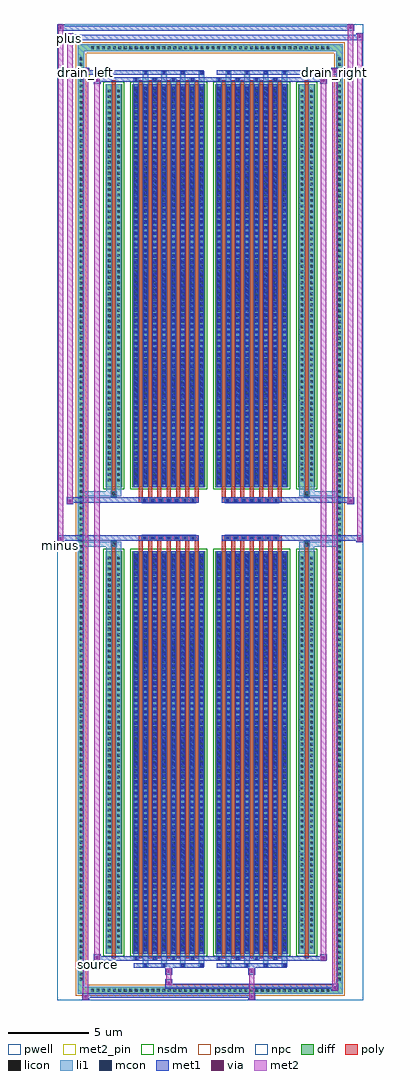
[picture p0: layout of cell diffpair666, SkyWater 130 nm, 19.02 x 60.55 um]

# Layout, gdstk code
import gdstk
lib = gdstk.Library(unit=1e-6, precision=5e-09)
def R(c, l, rs):  # rectangles x0, y0, x1, y1
    for r in rs: c.add(gdstk.rectangle(r[:2], r[2:], *l))
def A(c, l, x, y, w, h, nx, ny, dx, dy):  # array of equal rectangles
    R(c, l, [(x+i*dx, y+j*dy, x+i*dx+w, y+j*dy+h) for i in range(nx) for j in range(ny)])
def P(c, l, *ps):  # polygons
    for p in ps: c.add(gdstk.Polygon(p, *l))
pwell = (64, 44)
diff = (65, 20)
poly = (66, 20)
licon = (66, 44)
li1 = (67, 20)
mcon = (67, 44)
met1 = (68, 20)
via = (68, 44)
met2_pin = (69, 16)
met2 = (69, 20)
nsdm = (93, 44)
psdm = (94, 20)
npc = (95, 20)

diffpair666 = lib.new_cell('diffpair666')
R(diffpair666, pwell, [(-9.49,-29.84,9.49,30.71), (-6.81,-28.03,-0.01,-0.805), (0.01,-28.03,6.81,-0.805), (-6.81,0.805,-0.01,28.03), (0.01,0.805,6.81,28.03)])
A(diffpair666, diff, -7.515, -29.44, 0.41, 0.41, 44, 2, 0.34, 58.47)
A(diffpair666, diff, -8.22, -28.765, 0.41, 0.41, 1, 169, 0, 0.34)
A(diffpair666, diff, 7.81, -28.765, 0.41, 0.41, 1, 169, 0, 0.34)
R(diffpair666, diff, [(-7.515,-29.44,7.515,-29.03), (-8.22,-28.765,-7.81,28.765), (7.81,-28.765,8.22,28.765), (-6.5,-26.985,-5.47,-1.985), (-4.83,-26.985,-0.32,-1.985), (0.32,-26.985,4.83,-1.985), (5.47,-26.985,6.5,-1.985), (-6.5,1.985,-5.47,26.985), (-4.83,1.985,-0.32,26.985), (0.32,1.985,4.83,26.985), (5.47,1.985,6.5,26.985), (-7.515,29.03,7.515,29.44)])
P(diffpair666, diff, [(8.22,29.44),(-8.22,29.44),(-8.22,-29.03),(-7.81,-29.03),(-7.81,29.03),(7.81,29.03),(7.81,-29.03),(-7.81,-29.03),(-8.22,-29.03),(-8.22,-29.44),(8.22,-29.44)])
A(diffpair666, poly, -4.44, -27.235, 0.25, 25.5, 7, 2, 0.58, 28.97)
A(diffpair666, poly, 0.71, -27.235, 0.25, 25.5, 7, 2, 0.58, 28.97)
A(diffpair666, poly, -4.44, -1.735, 0.25, 0.4, 7, 2, 0.58, 3.07)
A(diffpair666, poly, 0.71, -1.735, 0.25, 0.4, 7, 2, 0.58, 3.07)
A(diffpair666, poly, -4.24, -1.335, 0.33, 0.33, 7, 2, 0.5, 2.34)
A(diffpair666, poly, 0.91, -1.335, 0.33, 0.33, 7, 2, 0.5, 2.34)
R(diffpair666, poly, [(-6.11,-27.235,-5.86,-1.735), (5.86,-27.235,6.11,-1.735), (-6.15,-1.735,-5.82,-1.405), (-6.15,-1.735,-5.82,-1.405), (5.82,-1.735,6.15,-1.405), (5.82,-1.735,6.15,-1.405), (-4.44,-1.335,-0.71,-1.005), (0.71,-1.335,4.44,-1.005), (-4.44,1.005,-0.71,1.335), (0.71,1.005,4.44,1.335), (-6.15,1.405,-5.82,1.735), (-6.15,1.405,-5.82,1.735), (5.82,1.405,6.15,1.735), (5.82,1.405,6.15,1.735), (-6.11,1.735,-5.86,27.235), (5.86,1.735,6.11,27.235)])
A(diffpair666, licon, -7.395, -29.32, 0.17, 0.17, 44, 2, 0.34, 58.47)
A(diffpair666, licon, -8.1, -28.645, 0.17, 0.17, 1, 169, 0, 0.34)
A(diffpair666, licon, 7.93, -28.645, 0.17, 0.17, 1, 169, 0, 0.34)
A(diffpair666, licon, -6.36, -26.64, 0.17, 0.17, 1, 72, 0, 0.34)
A(diffpair666, licon, -5.78, -26.64, 0.17, 0.17, 1, 72, 0, 0.34)
A(diffpair666, licon, -4.69, -26.64, 0.17, 0.17, 8, 72, 0.58, 0.34)
A(diffpair666, licon, 0.46, -26.64, 0.17, 0.17, 8, 72, 0.58, 0.34)
A(diffpair666, licon, 5.61, -26.64, 0.17, 0.17, 1, 72, 0, 0.34)
A(diffpair666, licon, 6.19, -26.64, 0.17, 0.17, 1, 72, 0, 0.34)
A(diffpair666, licon, -4.16, -1.255, 0.17, 0.17, 7, 2, 0.5, 2.34)
A(diffpair666, licon, 0.99, -1.255, 0.17, 0.17, 7, 2, 0.5, 2.34)
A(diffpair666, licon, -6.36, 2.33, 0.17, 0.17, 1, 72, 0, 0.34)
A(diffpair666, licon, -5.78, 2.33, 0.17, 0.17, 1, 72, 0, 0.34)
A(diffpair666, licon, -4.69, 2.33, 0.17, 0.17, 8, 72, 0.58, 0.34)
A(diffpair666, licon, 0.46, 2.33, 0.17, 0.17, 8, 72, 0.58, 0.34)
A(diffpair666, licon, 5.61, 2.33, 0.17, 0.17, 1, 72, 0, 0.34)
A(diffpair666, licon, 6.19, 2.33, 0.17, 0.17, 1, 72, 0, 0.34)
R(diffpair666, licon, [(-6.07,-1.655,-5.9,-1.485), (5.9,-1.655,6.07,-1.485), (-6.07,1.485,-5.9,1.655), (5.9,1.485,6.07,1.655)])
A(diffpair666, li1, -7.475, -29.4, 0.33, 0.33, 44, 2, 0.34, 58.47)
A(diffpair666, li1, -8.18, -28.725, 0.33, 0.33, 1, 169, 0, 0.34)
A(diffpair666, li1, 7.85, -28.725, 0.33, 0.33, 1, 169, 0, 0.34)
A(diffpair666, li1, -4.19, -27.79, 0.33, 0.805, 4, 2, 1.16, 54.775)
A(diffpair666, li1, -4.11, -27.79, 0.17, 0.17, 4, 2, 1.16, 55.41)
A(diffpair666, li1, 0.96, -27.79, 0.33, 0.805, 4, 2, 1.16, 54.775)
A(diffpair666, li1, 1.04, -27.79, 0.17, 0.17, 4, 2, 1.16, 55.41)
A(diffpair666, li1, -4.77, -27.36, 0.33, 0.375, 4, 2, 1.16, 54.345)
A(diffpair666, li1, -4.69, -27.36, 0.17, 0.17, 4, 2, 1.16, 54.55)
A(diffpair666, li1, 0.38, -27.36, 0.33, 0.375, 4, 2, 1.16, 54.345)
A(diffpair666, li1, 0.46, -27.36, 0.17, 0.17, 4, 2, 1.16, 54.55)
A(diffpair666, li1, -4.77, -26.985, 0.33, 25, 8, 2, 0.58, 28.97)
A(diffpair666, li1, 0.38, -26.985, 0.33, 25, 8, 2, 0.58, 28.97)
A(diffpair666, li1, -4.69, -26.81, 0.17, 0.17, 8, 69, 0.58, 0.36)
A(diffpair666, li1, -4.69, -26.81, 0.17, 24.65, 8, 2, 0.58, 28.97)
A(diffpair666, li1, 0.46, -26.81, 0.17, 0.17, 8, 69, 0.58, 0.36)
A(diffpair666, li1, 0.46, -26.81, 0.17, 24.65, 8, 2, 0.58, 28.97)
A(diffpair666, li1, -6.44, -26.72, 0.33, 0.33, 1, 72, 0, 0.34)
A(diffpair666, li1, -5.86, -26.72, 0.33, 0.33, 1, 72, 0, 0.34)
A(diffpair666, li1, -4.77, -26.72, 0.33, 0.33, 8, 72, 0.58, 0.34)
A(diffpair666, li1, 0.38, -26.72, 0.33, 0.33, 8, 72, 0.58, 0.34)
A(diffpair666, li1, 5.53, -26.72, 0.33, 0.33, 1, 72, 0, 0.34)
A(diffpair666, li1, 6.11, -26.72, 0.33, 0.33, 1, 72, 0, 0.34)
A(diffpair666, li1, -4.24, -1.335, 0.33, 0.33, 7, 2, 0.5, 2.34)
A(diffpair666, li1, 0.91, -1.335, 0.33, 0.33, 7, 2, 0.5, 2.34)
A(diffpair666, li1, -4.69, 2.16, 0.17, 0.17, 8, 69, 0.58, 0.36)
A(diffpair666, li1, 0.46, 2.16, 0.17, 0.17, 8, 69, 0.58, 0.36)
A(diffpair666, li1, -6.44, 2.25, 0.33, 0.33, 1, 72, 0, 0.34)
A(diffpair666, li1, -5.86, 2.25, 0.33, 0.33, 1, 72, 0, 0.34)
A(diffpair666, li1, -4.77, 2.25, 0.33, 0.33, 8, 72, 0.58, 0.34)
A(diffpair666, li1, 0.38, 2.25, 0.33, 0.33, 8, 72, 0.58, 0.34)
A(diffpair666, li1, 5.53, 2.25, 0.33, 0.33, 1, 72, 0, 0.34)
A(diffpair666, li1, 6.11, 2.25, 0.33, 0.33, 1, 72, 0, 0.34)
R(diffpair666, li1, [(-8.22,-29.44,-7.81,-29.03), (-8.22,-29.44,-7.81,-29.03), (-7.81,-29.44,7.81,-29.03), (7.81,-29.44,8.22,-29.03), (7.81,-29.44,8.22,-29.03), (-8.22,-29.03,-7.81,29.03), (7.81,-29.03,8.22,29.03), (-6.44,-26.985,-6.11,-1.985), (-5.86,-26.985,-5.53,-1.985), (5.53,-26.985,5.86,-1.985), (6.11,-26.985,6.44,-1.985), (-6.44,-1.985,-6.11,-1.405), (-5.86,-1.985,-5.53,-1.405), (5.53,-1.985,5.86,-1.405), (6.11,-1.985,6.44,-1.405), (-8.22,-1.735,-6.15,-1.405), (-6.44,-1.735,-6.15,-1.405), (-6.15,-1.735,-5.82,-1.405), (-5.82,-1.735,-5.53,-1.405), (5.53,-1.735,5.82,-1.405), (5.82,-1.735,6.15,-1.405), (5.82,-1.735,8.22,-1.405), (6.15,-1.735,6.44,-1.405), (-8.22,1.405,-6.15,1.735), (-6.44,1.405,-6.15,1.735), (-6.44,1.405,-6.11,1.985), (-6.15,1.405,-5.82,1.735), (-5.86,1.405,-5.53,1.985), (-5.82,1.405,-5.53,1.735), (5.53,1.405,5.82,1.735), (5.53,1.405,5.86,1.985), (5.82,1.405,6.15,1.735), (5.82,1.405,8.22,1.735), (6.11,1.405,6.44,1.985), (6.15,1.405,6.44,1.735), (-6.44,1.985,-6.11,26.985), (-5.86,1.985,-5.53,26.985), (5.53,1.985,5.86,26.985), (6.11,1.985,6.44,26.985), (-8.22,29.03,-7.81,29.44), (-8.22,29.03,-7.81,29.44), (-7.81,29.03,7.81,29.44), (7.81,29.03,8.22,29.44), (7.81,29.03,8.22,29.44)])
A(diffpair666, mcon, -4.11, -27.79, 0.17, 0.17, 4, 2, 1.16, 55.41)
A(diffpair666, mcon, 1.04, -27.79, 0.17, 0.17, 4, 2, 1.16, 55.41)
A(diffpair666, mcon, -4.69, -27.36, 0.17, 0.17, 4, 2, 1.16, 54.55)
A(diffpair666, mcon, 0.46, -27.36, 0.17, 0.17, 4, 2, 1.16, 54.55)
A(diffpair666, mcon, -4.69, -26.81, 0.17, 0.17, 8, 69, 0.58, 0.36)
A(diffpair666, mcon, 0.46, -26.81, 0.17, 0.17, 8, 69, 0.58, 0.36)
A(diffpair666, mcon, -4.16, -1.255, 0.17, 0.17, 7, 2, 0.5, 2.34)
A(diffpair666, mcon, 0.99, -1.255, 0.17, 0.17, 7, 2, 0.5, 2.34)
A(diffpair666, mcon, -4.69, 2.16, 0.17, 0.17, 8, 69, 0.58, 0.36)
A(diffpair666, mcon, 0.46, 2.16, 0.17, 0.17, 8, 69, 0.58, 0.36)
A(diffpair666, met1, -4.17, -27.85, 0.29, 0.29, 4, 2, 1.16, 55.41)
A(diffpair666, met1, 0.98, -27.85, 0.29, 0.29, 4, 2, 1.16, 55.41)
A(diffpair666, met1, -4.75, -27.42, 0.29, 0.29, 4, 2, 1.16, 54.55)
A(diffpair666, met1, 0.4, -27.42, 0.29, 0.29, 4, 2, 1.16, 54.55)
A(diffpair666, met1, -4.75, -26.985, 0.29, 25, 8, 2, 0.58, 28.97)
A(diffpair666, met1, 0.4, -26.985, 0.29, 25, 8, 2, 0.58, 28.97)
A(diffpair666, met1, -4.75, -26.87, 0.29, 0.29, 8, 69, 0.58, 0.36)
A(diffpair666, met1, 0.4, -26.87, 0.29, 0.29, 8, 69, 0.58, 0.36)
A(diffpair666, met1, -4.22, -1.315, 0.29, 0.29, 7, 2, 0.5, 2.34)
A(diffpair666, met1, 0.93, -1.315, 0.29, 0.29, 7, 2, 0.5, 2.34)
A(diffpair666, met1, -4.75, 2.1, 0.29, 0.29, 8, 69, 0.58, 0.36)
A(diffpair666, met1, 0.4, 2.1, 0.29, 0.29, 8, 69, 0.58, 0.36)
R(diffpair666, met1, [(-7.95,-29.84,-7.52,-29.41), (2.36,-29.84,2.79,-29.41), (-7.95,-29.7,2.79,-29.41), (7.52,-29.27,7.95,-28.84), (-2.79,-29.13,7.95,-28.84), (-2.79,-28.99,-2.36,-28.56), (-2.79,-28.28,-2.36,-27.85), (2.36,-28.28,2.79,-27.85), (-4.75,-27.85,-0.4,-27.56), (0.4,-27.85,4.75,-27.56), (-7.24,-27.42,-6.81,-26.99), (-7.24,-27.42,-4.75,-27.13), (-4.75,-27.42,-0.4,-27.13), (-0.4,-27.42,0.4,-27.13), (0.4,-27.42,4.75,-27.13), (4.75,-27.42,7.24,-27.13), (6.81,-27.42,7.24,-26.99), (-9.49,-1.435,-9.06,-1.005), (9.06,-1.435,9.49,-1.005), (-9.49,-1.335,-0.71,-1.005), (-4.44,-1.335,-0.71,-1.005), (0.71,-1.335,4.44,-1.005), (0.71,-1.335,9.49,-1.005), (-8.92,0.905,-8.49,1.335), (8.49,0.905,8.92,1.335), (-8.92,1.005,-4.44,1.335), (-4.44,1.005,-0.71,1.335), (0.71,1.005,4.44,1.335), (4.44,1.005,8.92,1.335), (-7.24,26.99,-6.81,27.42), (6.81,26.99,7.24,27.42), (-7.24,27.13,-4.75,27.42), (-4.75,27.13,-0.4,27.42), (-0.4,27.13,0.4,27.42), (0.4,27.13,4.75,27.42), (4.75,27.13,7.24,27.42), (-7.95,27.56,-7.52,27.99), (-7.95,27.56,-4.75,27.85), (-4.75,27.56,-0.4,27.85), (0.4,27.56,4.75,27.85), (4.75,27.56,7.95,27.85), (7.52,27.56,7.95,27.99), (-8.92,29.71,-8.49,30.14), (-8.92,29.71,-6.81,30.04), (-6.81,29.71,6.81,30.04), (6.81,29.71,9.49,30.04), (9.06,29.71,9.49,30.14), (-9.49,30.28,-9.06,30.71), (-9.49,30.28,-6.81,30.61), (-6.81,30.28,6.81,30.61), (6.81,30.28,8.92,30.61), (8.49,30.28,8.92,30.71)])
R(diffpair666, via, [(-7.81,-29.7,-7.66,-29.55), (2.5,-29.7,2.65,-29.55), (7.66,-29.13,7.81,-28.98), (-2.65,-28.85,-2.5,-28.7), (-2.65,-28.14,-2.5,-27.99), (2.5,-28.14,2.65,-27.99), (-7.1,-27.28,-6.95,-27.13), (6.95,-27.28,7.1,-27.13), (-9.35,-1.295,-9.2,-1.145), (9.2,-1.295,9.35,-1.145), (-8.78,1.045,-8.63,1.195), (8.63,1.045,8.78,1.195), (-7.1,27.13,-6.95,27.28), (6.95,27.13,7.1,27.28), (-7.81,27.7,-7.66,27.85), (7.66,27.7,7.81,27.85), (-8.78,29.85,-8.63,30), (9.2,29.85,9.35,30), (-9.35,30.42,-9.2,30.57), (8.63,30.42,8.78,30.57)])
R(diffpair666, met2_pin, [(-7.275,-27.87,-6.775,-27.37), (-9.525,-1.885,-9.025,-1.385), (-7.985,27.44,-7.485,27.94), (7.485,27.44,7.985,27.94), (-8.955,29.59,-8.455,30.09)])
R(diffpair666, met2, [(-7.9,-29.79,-7.57,-29.46), (-7.9,-29.79,-7.57,27.94), (2.41,-29.79,2.74,-29.46), (2.41,-29.46,2.74,-28.23), (7.57,-29.22,7.9,-28.89), (7.57,-29.22,7.9,27.94), (-2.74,-28.94,-2.41,-28.61), (-2.74,-28.61,-2.41,-28.23), (-2.74,-28.23,-2.41,-27.9), (2.41,-28.23,2.74,-27.9), (-7.19,-27.37,-6.86,-27.04), (-7.19,-27.37,-6.86,27.37), (6.86,-27.37,7.19,-27.04), (6.86,-27.37,7.19,27.37), (-9.44,-1.385,-9.11,-1.055), (-9.44,-1.385,-9.11,30.66), (9.11,-1.385,9.44,-1.055), (9.11,-1.385,9.44,30.09), (-8.87,0.955,-8.54,1.285), (-8.87,0.955,-8.54,30.09), (8.54,0.955,8.87,1.285), (8.54,0.955,8.87,30.66), (-7.19,27.04,-6.86,27.37), (6.86,27.04,7.19,27.37), (-7.9,27.61,-7.57,27.94), (7.57,27.61,7.9,27.94), (-8.87,29.76,-8.54,30.09), (9.11,29.76,9.44,30.09), (-9.44,30.33,-9.11,30.66), (8.54,30.33,8.87,30.66)])
P(diffpair666, met2, [(9.44,-1.385),(9.44,-1.385),(9.44,-1.055),(9.44,-1.055)],
  [(9.44,29.76),(9.44,29.76),(9.44,30.09),(9.44,30.09)],
  [(-9.11,-1.385),(-9.11,-1.385),(-9.11,-1.055),(-9.11,-1.055)],
  [(-9.11,30.33),(-9.11,30.33),(-9.11,30.66),(-9.11,30.66)],
  [(8.87,0.955),(8.87,0.955),(8.87,1.285),(8.87,1.285)],
  [(8.87,30.33),(8.87,30.33),(8.87,30.66),(8.87,30.66)],
  [(-8.54,0.955),(-8.54,0.955),(-8.54,1.285),(-8.54,1.285)],
  [(-8.54,29.76),(-8.54,29.76),(-8.54,30.09),(-8.54,30.09)],
  [(-7.57,-29.79),(-7.57,-29.79),(-7.57,-29.46),(-7.57,-29.46)],
  [(-7.57,27.61),(-7.57,27.61),(-7.57,27.94),(-7.57,27.94)],
  [(7.9,-29.22),(7.9,-29.22),(7.9,-28.89),(7.9,-28.89)],
  [(7.9,27.61),(7.9,27.61),(7.9,27.94),(7.9,27.94)],
  [(-6.86,-27.37),(-6.86,-27.37),(-6.86,-27.04),(-6.86,-27.04)],
  [(-6.86,27.04),(-6.86,27.04),(-6.86,27.37),(-6.86,27.37)],
  [(7.19,-27.37),(7.19,-27.37),(7.19,-27.04),(7.19,-27.04)],
  [(7.19,27.04),(7.19,27.04),(7.19,27.37),(7.19,27.37)])
R(diffpair666, nsdm, [(-6.63,-27.115,-5.34,-1.855), (-4.96,-27.115,-0.19,-1.855), (0.19,-27.115,4.96,-1.855), (5.34,-27.115,6.63,-1.855), (-6.63,1.855,-5.34,27.115), (-4.96,1.855,-0.19,27.115), (0.19,1.855,4.96,27.115), (5.34,1.855,6.63,27.115)])
P(diffpair666, psdm, [(8.35,29.57),(-8.35,29.57),(-8.35,-28.9),(-7.68,-28.9),(-7.68,28.9),(7.68,28.9),(7.68,-28.9),(-7.68,-28.9),(-8.35,-28.9),(-8.35,-29.57),(8.35,-29.57)])
A(diffpair666, npc, -4.26, -1.355, 0.37, 0.37, 7, 2, 0.5, 2.34)
A(diffpair666, npc, 0.89, -1.355, 0.37, 0.37, 7, 2, 0.5, 2.34)
R(diffpair666, npc, [(-6.17,-1.755,-5.8,-1.385), (5.8,-1.755,6.17,-1.385), (-4.26,-1.355,-3.39,-0.985), (-4.26,-1.355,-3.39,-0.985), (-3.76,-1.355,-2.89,-0.985), (-3.76,-1.355,-2.89,-0.985), (-3.26,-1.355,-2.39,-0.985), (-3.26,-1.355,-2.39,-0.985), (-2.76,-1.355,-1.89,-0.985), (-2.76,-1.355,-1.89,-0.985), (-2.26,-1.355,-1.39,-0.985), (-2.26,-1.355,-1.39,-0.985), (-1.76,-1.355,-0.89,-0.985), (-1.76,-1.355,-0.89,-0.985), (0.89,-1.355,1.76,-0.985), (0.89,-1.355,1.76,-0.985), (1.39,-1.355,2.26,-0.985), (1.39,-1.355,2.26,-0.985), (1.89,-1.355,2.76,-0.985), (1.89,-1.355,2.76,-0.985), (2.39,-1.355,3.26,-0.985), (2.39,-1.355,3.26,-0.985), (2.89,-1.355,3.76,-0.985), (2.89,-1.355,3.76,-0.985), (3.39,-1.355,4.26,-0.985), (3.39,-1.355,4.26,-0.985), (-4.26,0.985,-3.39,1.355), (-4.26,0.985,-3.39,1.355), (-3.76,0.985,-2.89,1.355), (-3.76,0.985,-2.89,1.355), (-3.26,0.985,-2.39,1.355), (-3.26,0.985,-2.39,1.355), (-2.76,0.985,-1.89,1.355), (-2.76,0.985,-1.89,1.355), (-2.26,0.985,-1.39,1.355), (-2.26,0.985,-1.39,1.355), (-1.76,0.985,-0.89,1.355), (-1.76,0.985,-0.89,1.355), (0.89,0.985,1.76,1.355), (0.89,0.985,1.76,1.355), (1.39,0.985,2.26,1.355), (1.39,0.985,2.26,1.355), (1.89,0.985,2.76,1.355), (1.89,0.985,2.76,1.355), (2.39,0.985,3.26,1.355), (2.39,0.985,3.26,1.355), (2.89,0.985,3.76,1.355), (2.89,0.985,3.76,1.355), (3.39,0.985,4.26,1.355), (3.39,0.985,4.26,1.355), (-6.17,1.385,-5.8,1.755), (5.8,1.385,6.17,1.755)])
diffpair666.add(gdstk.Label('minus', (-9.275,-1.635), layer=69, texttype=5))
diffpair666.add(gdstk.Label('drain_right', (7.735,27.69), layer=69, texttype=5))
diffpair666.add(gdstk.Label('drain_left', (-7.735,27.69), layer=69, texttype=5))
diffpair666.add(gdstk.Label('source', (-7.025,-27.62), layer=69, texttype=5))
diffpair666.add(gdstk.Label('plus', (-8.705,29.84), layer=69, texttype=5))

lib.write_gds('diffpair666.gds')
